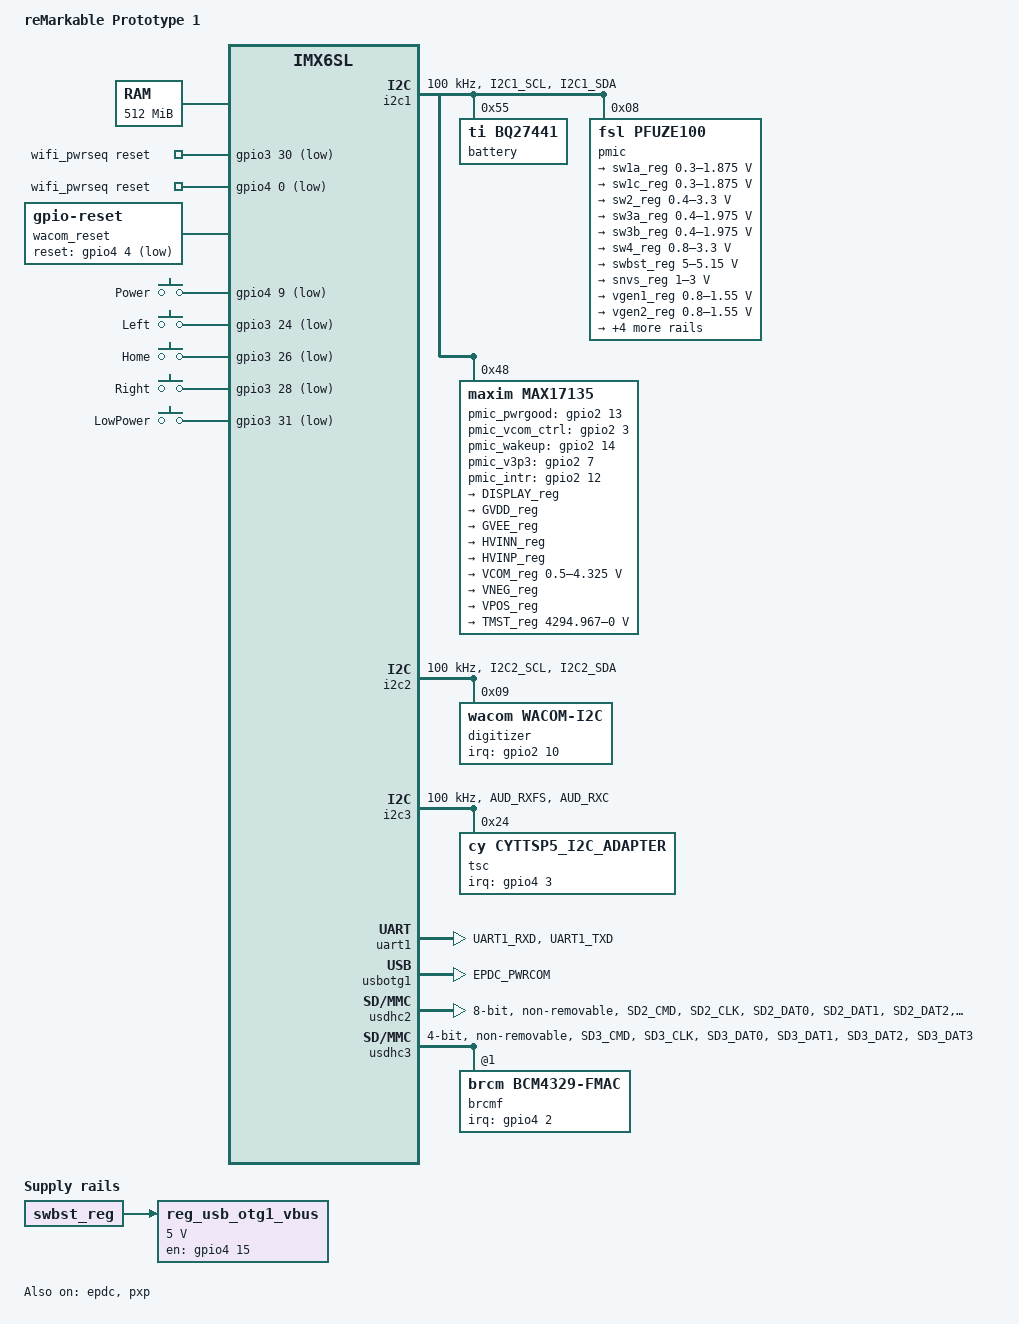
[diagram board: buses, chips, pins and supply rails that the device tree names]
/*
 * Copyright (C) 2013 Freescale Semiconductor, Inc.
 *
 * This program is free software; you can redistribute it and/or modify
 * it under the terms of the GNU General Public License version 2 as
 * published by the Free Software Foundation.
 */

/dts-v1/;

#include <dt-bindings/gpio/gpio.h>
#include <dt-bindings/input/input.h>
#include "imx6sl.dtsi"
#include "zero-gravitas-padctl.h"

/ {
	model = "reMarkable Prototype 1";
	compatible = "remarkable,zero-gravitas", "fsl,imx6sl";


	memory {
		reg = <0x80000000 0x20000000>;
	};

	wifi_pwrseq: wifi_pwrseq {
	     compatible = "mmc-pwrseq-simple";
	     reset-gpios = <&gpio3 30 GPIO_ACTIVE_LOW>,
		     <&gpio4 0 GPIO_ACTIVE_LOW>;
	     clocks = <&clks IMX6SL_CLK_OSC>;
	     clock-names = "ext_clock";
	};


	regulators {
		compatible = "simple-bus";
		#address-cells = <1>;
		#size-cells = <0>;

		reg_usb_otg1_vbus: regulator@0 {
			compatible = "regulator-fixed";
			reg = <0>;
			regulator-name = "usb_otg1_vbus";
			regulator-min-microvolt = <5000000>;
			regulator-max-microvolt = <5000000>;
			gpio = <&gpio4 15 0>;
			enable-active-high;
			vin-supply = <&swbst_reg>;
		};

		charger_regulator: regulator@1 {
			reg = <1>;
			compatible = "regulator-fixed";
			regulator-name = "charger-regulator";
			regulator-min-microamp = <5000000>;
			regulator-max-microamp = <5000000>;
			gpios = <&gpio3 27 GPIO_ACTIVE_LOW>;
			enable-active-high; /* Don't invert twice */
			regulator-boot-on;
			status = "disabled";
		};
	};

	wacom_reset: wacom-reset {
		compatible = "gpio-reset";
		reset-gpios = <&gpio4 4 1>;
		reset-delay-us = <100000>;
		#reset-cells = <0>;
	};

	gpio-keys {
		compatible = "gpio-keys";
		pinctrl-0 = <&pinctrl_keys>;
		pinctrl-names = "default";
		status = "okay";

		button_0 {
			label = "Power";
			gpios = <&gpio4 9 GPIO_ACTIVE_LOW>;
			linux,code = <KEY_POWER>;
			gpio-key,wakeup;
			debounce-interval = <10>;
		};

		button_1 {
			label = "Left";
			gpios = <&gpio3 24 GPIO_ACTIVE_LOW>;
			linux,code = <KEY_LEFT>;
			gpio-key,wakeup;
			debounce-interval = <5>;
		};

		button_2 {
			label = "Home";
			gpios = <&gpio3 26 GPIO_ACTIVE_LOW>;
			linux,code = <KEY_HOME>;
			gpio-key,wakeup;
			debounce-interval = <5>;
		};
		button_3 {
			label = "Right";
			gpios = <&gpio3 28 GPIO_ACTIVE_LOW>;
			linux,code = <KEY_RIGHT>;
			gpio-key,wakeup;
			debounce-interval = <5>;
		};
		button_4 {
			label = "LowPower";
			gpios = <&gpio3 31 GPIO_ACTIVE_LOW>;
			linux,code = <KEY_WAKEUP>;
			gpio-key,wakeup;
			debounce-interval = <100>;
		};
	};

	usb_charger: usb_charger {
		compatible = "gpio-charger";
		gpios = <&gpio4 1 0>;
		status = "disabled";
	};
};

&cpu0 {
	arm-supply = <&sw1a_reg>;
	soc-supply = <&sw1c_reg>;
};

&epdc {
        pinctrl-names = "default";
        pinctrl-0 = <&pinctrl_epdc_0>;
        VCOM-supply = <&VCOM_reg>;
        DISPLAY-supply = <&DISPLAY_reg>;
	TMST-supply = <&TMST_reg>;
        status = "okay";
};

&gpc {
	 fsl,ldo-bypass = <1>;
};

&i2c1 {
	clock-frequency = <100000>;
	pinctrl-names = "default";
	pinctrl-0 = <&pinctrl_i2c1>;
	status = "okay";

	battery: bq27441@55 {
		reg = <0x55>;
		compatible = "ti,bq27441";
		/*power-supplies = <&usb_charger>;*/
		/*charger-supply = <&charger_regulator>;*/
		/*interrupt-parent = <&gpio3>;
		interrupts = <31 IRQ_TYPE_LEVEL_HIGH>;*/
		ti,resistor-sense = <10>;
	};

	pmic: pfuze100@08 {
		compatible = "fsl,pfuze100";
		reg = <0x08>;

		regulators {
			sw1a_reg: sw1ab {
				regulator-min-microvolt = <300000>;
				regulator-max-microvolt = <1875000>;
				regulator-boot-on;
				regulator-always-on;
				regulator-ramp-delay = <6250>;
			};

			sw1c_reg: sw1c {
				regulator-min-microvolt = <300000>;
				regulator-max-microvolt = <1875000>;
				regulator-boot-on;
				regulator-always-on;
				regulator-ramp-delay = <6250>;
			};

			sw2_reg: sw2 {
				regulator-min-microvolt = <400000>;
				regulator-max-microvolt = <3300000>;
				regulator-boot-on;
				regulator-always-on;
			};

			sw3a_reg: sw3a {
				regulator-min-microvolt = <400000>;
				regulator-max-microvolt = <1975000>;
				regulator-boot-on;
				regulator-always-on;
			};

			sw3b_reg: sw3b {
				regulator-min-microvolt = <400000>;
				regulator-max-microvolt = <1975000>;
				regulator-boot-on;
				regulator-always-on;
			};

			sw4_reg: sw4 {
				regulator-min-microvolt = <800000>;
				regulator-max-microvolt = <3300000>;
			};

			swbst_reg: swbst {
				regulator-min-microvolt = <5000000>;
				regulator-max-microvolt = <5150000>;
			};

			snvs_reg: vsnvs {
				regulator-min-microvolt = <1000000>;
				regulator-max-microvolt = <3000000>;
				regulator-boot-on;
				regulator-always-on;
			};

			vref_reg: vrefddr {
				regulator-boot-on;
				regulator-always-on;
			};

			vgen1_reg: vgen1 {
				regulator-min-microvolt = <800000>;
				regulator-max-microvolt = <1550000>;
				regulator-always-on;
			};

			vgen2_reg: vgen2 {
				regulator-min-microvolt = <800000>;
				regulator-max-microvolt = <1550000>;
			};

			vgen3_reg: vgen3 {
				regulator-min-microvolt = <1800000>;
				regulator-max-microvolt = <3300000>;
			};

			vgen4_reg: vgen4 {
				regulator-min-microvolt = <1800000>;
				regulator-max-microvolt = <3300000>;
				regulator-always-on;
			};

			vgen5_reg: vgen5 {
				regulator-min-microvolt = <1800000>;
				regulator-max-microvolt = <3300000>;
				regulator-always-on;
			};

			vgen6_reg: vgen6 {
				regulator-min-microvolt = <1800000>;
				regulator-max-microvolt = <3300000>;
				regulator-always-on;
			};
		};
	};

	max17135@48 {
		compatible = "maxim,max17135";
		reg = <0x48>;
		pass_num = <2>;
		gvee_pwrup = <0>; /* ms */
		vneg_pwrup = <3>;
		vpos_pwrup = <6>;
		gvdd_pwrup = <3>;

		gvdd_pwrdn = <1>;
		vpos_pwrdn = <2>;
		vneg_pwrdn = <6>;
		gvee_pwrdn = <50>;
		/* These are only for passnum 1, we use i2c */
		gpio_pmic_pwrgood = <&gpio2 13 0>;
		gpio_pmic_vcom_ctrl = <&gpio2 3 0>;
		gpio_pmic_wakeup = <&gpio2 14 0>;
		gpio_pmic_v3p3 = <&gpio2 7 0>;
		gpio_pmic_intr = <&gpio2 12 0>;

		regulators {
			DISPLAY_reg: DISPLAY {
				regulator-name = "DISPLAY";
			};

			GVDD_reg: GVDD {
				/* 20v */
				regulator-name = "GVDD";
			};

			GVEE_reg: GVEE {
				/* -22v */
				regulator-name = "GVEE";
			};

			HVINN_reg: HVINN {
				/* -22v */
				regulator-name = "HVINN";
			};

			HVINP_reg: HVINP {
				/* 20v */
				regulator-name = "HVINP";
			};

                        VCOM_reg: VCOM {
                                regulator-name = "VCOM";
                                /* Real max value: -500000 */
                                regulator-max-microvolt = <4325000>;
                                /* Real min value: -4325000 */
                                regulator-min-microvolt = <500000>;
                        };

			VNEG_reg: VNEG {
				/* -15v */
				regulator-name = "VNEG";
			};

			VPOS_reg: VPOS {
				/* 15v */
				regulator-name = "VPOS";
			};

			TMST_reg: TMST {
				regulator-name = "TMST";
				/* 2's-compliment, -127 */
				regulator-min-microvolt = <0xffffff81>;
				/* 2's-compliment, +127 */
				regulator-max-microvolt = <0x0000007f>;
			};
		};
	};

};

&i2c2 {
	clock-frequency = <100000>;
	pinctrl-names = "default";
	pinctrl-0 = <&pinctrl_i2c2>;
	status = "okay";

	digitizer: wacom-i2c@09 {
		compatible = "wacom,wacom-i2c";
		reg = <0x09>;
		interrupt-parent = <&gpio2>;
		interrupts = <10 2>;
		resets = <&wacom_reset>;
	};
};

&i2c3 {
	clock-frequency = <100000>;
	pinctrl-names = "default";
	pinctrl-0 = <&pinctrl_i2c3>;
	status = "okay";

	tsc@24 {
		compatible = "cy,cyttsp5_i2c_adapter";
		reg = <0x24>;
		interrupt-parent = <&gpio4>;
		interrupts = <3 2>;
		cy,adapter_id = "cyttsp5_i2c_adapter";
		status = "okay";

		cy,core {
			cy,name = "cyttsp5_core";

			cy,irq_gpio = <&gpio4 3 0>;
			cy,rst_gpio = <&gpio4 5 0>;
			cy,hid_desc_register = <1>;
			/* CY_CORE_FLAG_RESTORE_PARAMETERS */
			cy,flags = <4>;
			/* CY_CORE_EWG_NONE */
			cy,easy_wakeup_gesture = <0>;
			cy,btn_keys = <172 /* KEY_HOMEPAGE */
				/* previously was KEY_HOME, new Android versions use KEY_HOMEPAGE */
				139 /* KEY_MENU */
				158 /* KEY_BACK */
				217 /* KEY_SEARCH */
				114 /* KEY_VOLUMEDOWN */
				115 /* KEY_VOLUMEUP */
				212 /* KEY_CAMERA */
				116>; /* KEY_POWER */
			cy,btn_keys-tag = <0>;

			cy,mt {
				cy,name = "cyttsp5_mt";

				cy,inp_dev_name = "cyttsp5_mt";
				cy,flags = <0>;
				cy,abs =
					/* ABS_MT_POSITION_X, CY_ABS_MIN_X, CY_ABS_MAX_X, 0, 0 */
					<0x35 0 880 0 0
					/* ABS_MT_POSITION_Y, CY_ABS_MIN_Y, CY_ABS_MAX_Y, 0, 0 */
					0x36 0 1280 0 0
					/* ABS_MT_PRESSURE, CY_ABS_MIN_P, CY_ABS_MAX_P, 0, 0 */
					0x3a 0 255 0 0
					/* CY_IGNORE_VALUE, CY_ABS_MIN_W, CY_ABS_MAX_W, 0, 0 */
					0xffff 0 255 0 0
					/* ABS_MT_TRACKING_ID, CY_ABS_MIN_T, CY_ABS_MAX_T, 0, 0 */
					0x39 0 15 0 0
					/* ABS_MT_TOUCH_MAJOR, 0, 255, 0, 0 */
					0x30 0 255 0 0
					/* ABS_MT_TOUCH_MINOR, 0, 255, 0, 0 */
					0x31 0 255 0 0
					/* ABS_MT_ORIENTATION, -127, 127, 0, 0 */
					0x34 0xffffff81 127 0 0
					/* ABS_MT_TOOL_TYPE, 0, MT_TOOL_MAX, 0, 0 */
					0x37 0 1 0 0
					/* ABS_DISTANCE, 0, 255, 0, 0 */
					0x19 0 255 0 0>;

				cy,vkeys_x = <720>;
				cy,vkeys_y = <1280>;

				cy,virtual_keys = /* KeyCode CenterX CenterY Width Height */
					/* KEY_BACK */
					<158 1360 90 160 180
					/* KEY_MENU */
					139 1360 270 160 180
					/* KEY_HOMEPAGE */
					172 1360 450 160 180
					/* KEY SEARCH */
					217 1360 630 160 180>;
			};
		};
	};
};

&iomuxc {
	pinctrl-names = "default";
	pinctrl-0 = <&pinctrl_hog>;

	zero-gravitas {
		pinctrl_hog: hoggrp {
			fsl,pins = <
				/* MAX17135 pwrgood */
				MX6SL_PAD_EPDC_PWRSTAT__GPIO2_IO13	PAD_CTL_NONE
				/* MAX17135 vcom ctrl */
				MX6SL_PAD_EPDC_VCOM0__GPIO2_IO03	PAD_CTL_NONE
				/* MAX17135 wakeup */
				MX6SL_PAD_EPDC_PWRWAKEUP__GPIO2_IO14	PAD_CTL_NONE
				/* MAX17135 v3p3 */
				MX6SL_PAD_EPDC_PWRCTRL0__GPIO2_IO07	PAD_CTL_NONE
				/* MAX17135 intr */
				MX6SL_PAD_EPDC_PWRINT__GPIO2_IO12	PAD_CTL_NONE

				/* BQ27441 low power */
				MX6SL_PAD_KEY_ROW3__GPIO3_IO31		0x17000

				/* Wacom interrupt */
				MX6SL_PAD_EPDC_PWRCTRL3__GPIO2_IO10	0x17000
				/* Wacom reset */
				MX6SL_PAD_KEY_COL6__GPIO4_IO04		0x110b0

				/* CYTTSP interrupt */
				MX6SL_PAD_KEY_ROW5__GPIO4_IO03		0x17000
				/* CYTTSP reset */
				MX6SL_PAD_KEY_ROW6__GPIO4_IO05		0x110b0

				/* USB OTG1 voltage control */
				/*MX6SL_PAD_ECSPI2_SS0__GPIO4_IO15	0x17000*/
				/*MX6SL_PAD_ECSPI2_SS0__GPIO4_IO15	0x000b0*/
				MX6SL_PAD_ECSPI2_SS0__GPIO4_IO15	PAD_CTL_NONE
				/*MX6SL_PAD_ECSPI2_SS0__USB_OTG1_PWR	0x17000*/
				/* USB OTG1 over current detection */
				MX6SL_PAD_ECSPI2_MISO__USB_OTG1_OC	0x1b0b0

				/* Charger control */
				MX6SL_PAD_KEY_ROW1__GPIO3_IO27		0x110b0
				/* Charger status */
				MX6SL_PAD_KEY_ROW4__GPIO4_IO01		PAD_CTL_NONE

				/* USDHC1 card detect */
				MX6SL_PAD_KEY_ROW7__GPIO4_IO07		0x17059

				/* CHIP_WAKE_HOST */
				MX6SL_PAD_KEY_COL5__GPIO4_IO02		PAD_CTL_NONE
				/* POWER_WIFI: WiFi external power control */
				MX6SL_PAD_KEY_COL3__GPIO3_IO30		PAD_CTL_NONE
				/* WL_DIS: WiFi internal power control */
				MX6SL_PAD_KEY_COL4__GPIO4_IO00		PAD_CTL_NONE

				/* 32Khz clock from i.MX6 to WiFi for power saving */
				MX6SL_PAD_REF_CLK_32K__XTALOSC_REF_CLK_32K 0x1b0b0
			>;
		};

                pinctrl_epdc_0: epdcgrp-0 {
                        fsl,pins = <
                                MX6SL_PAD_EPDC_D0__EPDC_DATA00  PAD_CTL_NONE
                                MX6SL_PAD_EPDC_D1__EPDC_DATA01  PAD_CTL_NONE
                                MX6SL_PAD_EPDC_D2__EPDC_DATA02  PAD_CTL_NONE
                                MX6SL_PAD_EPDC_D3__EPDC_DATA03  PAD_CTL_NONE
                                MX6SL_PAD_EPDC_D4__EPDC_DATA04  PAD_CTL_NONE
                                MX6SL_PAD_EPDC_D5__EPDC_DATA05  PAD_CTL_NONE
                                MX6SL_PAD_EPDC_D6__EPDC_DATA06  PAD_CTL_NONE
                                MX6SL_PAD_EPDC_D7__EPDC_DATA07  PAD_CTL_NONE
                                MX6SL_PAD_EPDC_D8__EPDC_DATA08  PAD_CTL_NONE
                                MX6SL_PAD_EPDC_D9__EPDC_DATA09  PAD_CTL_NONE
                                MX6SL_PAD_EPDC_D10__EPDC_DATA10 PAD_CTL_NONE
                                MX6SL_PAD_EPDC_D11__EPDC_DATA11 PAD_CTL_NONE
                                MX6SL_PAD_EPDC_D12__EPDC_DATA12 PAD_CTL_NONE
                                MX6SL_PAD_EPDC_D13__EPDC_DATA13 PAD_CTL_NONE
                                MX6SL_PAD_EPDC_D14__EPDC_DATA14 PAD_CTL_NONE
                                MX6SL_PAD_EPDC_D15__EPDC_DATA15 PAD_CTL_NONE
                                MX6SL_PAD_EPDC_GDCLK__EPDC_GDCLK PAD_CTL_NONE
                                MX6SL_PAD_EPDC_GDOE__EPDC_GDOE   PAD_CTL_NONE
                                MX6SL_PAD_EPDC_GDSP__EPDC_GDSP   PAD_CTL_NONE
                                MX6SL_PAD_EPDC_SDCE0__EPDC_SDCE0 PAD_CTL_NONE
                                MX6SL_PAD_EPDC_SDCLK__EPDC_SDCLK_P PAD_CTL_NONE
                                MX6SL_PAD_EPDC_SDLE__EPDC_SDLE   PAD_CTL_NONE
                                MX6SL_PAD_EPDC_SDOE__EPDC_SDOE   PAD_CTL_NONE
                                MX6SL_PAD_EPDC_BDR0__EPDC_BDR0   PAD_CTL_NONE
                                MX6SL_PAD_EPDC_BDR1__EPDC_BDR1   PAD_CTL_NONE
                        >;
                };

		pinctrl_i2c1: i2c1grp {
			fsl,pins = <
				MX6SL_PAD_I2C1_SCL__I2C1_SCL	0x4001b8b1
				MX6SL_PAD_I2C1_SDA__I2C1_SDA	0x4001b8b1
			>;
		};


		pinctrl_i2c2: i2c2grp {
			fsl,pins = <
				MX6SL_PAD_I2C2_SCL__I2C2_SCL	0x4001b8b1
				MX6SL_PAD_I2C2_SDA__I2C2_SDA	0x4001b8b1
			>;
		};

		pinctrl_i2c3: i2c3grp {
			fsl,pins = <
				MX6SL_PAD_AUD_RXFS__I2C3_SCL 0x4001b8b1
				MX6SL_PAD_AUD_RXC__I2C3_SDA 0x4001b8b1
			>;
		};

		pinctrl_keys: keygrp {
			fsl,pins = <
				MX6SL_PAD_ECSPI1_MOSI__GPIO4_IO09	0x100b1
				MX6SL_PAD_KEY_COL0__GPIO3_IO24		0x100b1
				MX6SL_PAD_KEY_COL1__GPIO3_IO26		0x100b1
				MX6SL_PAD_KEY_COL2__GPIO3_IO28		0x100b1
			>;
		};

		pinctrl_uart1: uart1grp {
			fsl,pins = <
				MX6SL_PAD_UART1_RXD__UART1_RX_DATA	0x1b0b1
				MX6SL_PAD_UART1_TXD__UART1_TX_DATA	0x1b0b1
			>;
		};

		pinctrl_usbotg1: usbotg1grp {
			fsl,pins = <
				MX6SL_PAD_EPDC_PWRCOM__USB_OTG1_ID	0x17059
			>;
		};

		pinctrl_usdhc1: usdhc1grp {
			fsl,pins = <
				MX6SL_PAD_SD1_CMD__SD1_CMD		PAD_CTL_USDHC_DEFAULT
				MX6SL_PAD_SD1_CLK__SD1_CLK		PAD_CTL_USDHC_CLK_DEFAULT
				MX6SL_PAD_SD1_DAT0__SD1_DATA0		PAD_CTL_USDHC_DEFAULT
				MX6SL_PAD_SD1_DAT1__SD1_DATA1		PAD_CTL_USDHC_DEFAULT
				MX6SL_PAD_SD1_DAT2__SD1_DATA2		PAD_CTL_USDHC_DEFAULT
				MX6SL_PAD_SD1_DAT3__SD1_DATA3		PAD_CTL_USDHC_DEFAULT
			>;
		};

		pinctrl_usdhc1_100mhz: usdhc1grp100mhz {
			fsl,pins = <
				MX6SL_PAD_SD1_CMD__SD1_CMD		PAD_CTL_USDHC_100MHZ
				MX6SL_PAD_SD1_CLK__SD1_CLK		PAD_CTL_USDHC_CLK_100MHZ
				MX6SL_PAD_SD1_DAT0__SD1_DATA0		PAD_CTL_USDHC_100MHZ
				MX6SL_PAD_SD1_DAT1__SD1_DATA1		PAD_CTL_USDHC_100MHZ
				MX6SL_PAD_SD1_DAT2__SD1_DATA2		PAD_CTL_USDHC_100MHZ
				MX6SL_PAD_SD1_DAT3__SD1_DATA3		PAD_CTL_USDHC_100MHZ
			>;
		};

		pinctrl_usdhc1_200mhz: usdhc1grp200mhz {
			fsl,pins = <
				MX6SL_PAD_SD1_CMD__SD1_CMD		PAD_CTL_USDHC_200MHZ
				MX6SL_PAD_SD1_CLK__SD1_CLK		PAD_CTL_USDHC_CLK_200MHZ
				MX6SL_PAD_SD1_DAT0__SD1_DATA0		PAD_CTL_USDHC_200MHZ
				MX6SL_PAD_SD1_DAT1__SD1_DATA1		PAD_CTL_USDHC_200MHZ
				MX6SL_PAD_SD1_DAT2__SD1_DATA2		PAD_CTL_USDHC_200MHZ
				MX6SL_PAD_SD1_DAT3__SD1_DATA3		PAD_CTL_USDHC_200MHZ
			>;
		};

		pinctrl_usdhc2: usdhc2grp {
			fsl,pins = <
				MX6SL_PAD_SD2_CMD__SD2_CMD		PAD_CTL_USDHC_DEFAULT
				MX6SL_PAD_SD2_CLK__SD2_CLK		PAD_CTL_USDHC_CLK_DEFAULT
				MX6SL_PAD_SD2_DAT0__SD2_DATA0		PAD_CTL_USDHC_DEFAULT
				MX6SL_PAD_SD2_DAT1__SD2_DATA1		PAD_CTL_USDHC_DEFAULT
				MX6SL_PAD_SD2_DAT2__SD2_DATA2		PAD_CTL_USDHC_DEFAULT
				MX6SL_PAD_SD2_DAT3__SD2_DATA3		PAD_CTL_USDHC_DEFAULT
				MX6SL_PAD_SD2_DAT4__SD2_DATA4		PAD_CTL_USDHC_DEFAULT
				MX6SL_PAD_SD2_DAT5__SD2_DATA5		PAD_CTL_USDHC_DEFAULT
				MX6SL_PAD_SD2_DAT6__SD2_DATA6		PAD_CTL_USDHC_DEFAULT
				MX6SL_PAD_SD2_DAT7__SD2_DATA7		PAD_CTL_USDHC_DEFAULT
				MX6SL_PAD_SD2_RST__SD2_RESET		PAD_CTL_USDHC_CLK_DEFAULT
			>;
		};

		pinctrl_usdhc2_100mhz: usdhc2grp100mhz {
			fsl,pins = <
				MX6SL_PAD_SD2_CMD__SD2_CMD		PAD_CTL_USDHC_100MHZ
				MX6SL_PAD_SD2_CLK__SD2_CLK		PAD_CTL_USDHC_CLK_100MHZ
				MX6SL_PAD_SD2_DAT0__SD2_DATA0		PAD_CTL_USDHC_100MHZ
				MX6SL_PAD_SD2_DAT1__SD2_DATA1		PAD_CTL_USDHC_100MHZ
				MX6SL_PAD_SD2_DAT2__SD2_DATA2		PAD_CTL_USDHC_100MHZ
				MX6SL_PAD_SD2_DAT3__SD2_DATA3		PAD_CTL_USDHC_100MHZ
				MX6SL_PAD_SD2_DAT4__SD2_DATA4		PAD_CTL_USDHC_100MHZ
				MX6SL_PAD_SD2_DAT5__SD2_DATA5		PAD_CTL_USDHC_100MHZ
				MX6SL_PAD_SD2_DAT6__SD2_DATA6		PAD_CTL_USDHC_100MHZ
				MX6SL_PAD_SD2_DAT7__SD2_DATA7		PAD_CTL_USDHC_100MHZ
				MX6SL_PAD_SD2_RST__SD2_RESET		PAD_CTL_USDHC_CLK_DEFAULT
			>;
		};

		pinctrl_usdhc2_200mhz: usdhc2grp200mhz {
			fsl,pins = <
				MX6SL_PAD_SD2_CMD__SD2_CMD		PAD_CTL_USDHC_200MHZ
				MX6SL_PAD_SD2_CLK__SD2_CLK		PAD_CTL_USDHC_CLK_200MHZ
				MX6SL_PAD_SD2_DAT0__SD2_DATA0		PAD_CTL_USDHC_200MHZ
				MX6SL_PAD_SD2_DAT1__SD2_DATA1		PAD_CTL_USDHC_200MHZ
				MX6SL_PAD_SD2_DAT2__SD2_DATA2		PAD_CTL_USDHC_200MHZ
				MX6SL_PAD_SD2_DAT3__SD2_DATA3		PAD_CTL_USDHC_200MHZ
				MX6SL_PAD_SD2_DAT4__SD2_DATA4		PAD_CTL_USDHC_200MHZ
				MX6SL_PAD_SD2_DAT5__SD2_DATA5		PAD_CTL_USDHC_200MHZ
				MX6SL_PAD_SD2_DAT6__SD2_DATA6		PAD_CTL_USDHC_200MHZ
				MX6SL_PAD_SD2_DAT7__SD2_DATA7		PAD_CTL_USDHC_200MHZ
				MX6SL_PAD_SD2_RST__SD2_RESET		PAD_CTL_USDHC_CLK_DEFAULT
			>;
		};

		pinctrl_usdhc3: usdhc3grp {
			fsl,pins = <
				MX6SL_PAD_SD3_CMD__SD3_CMD		PAD_CTL_USDHC_DEFAULT
				MX6SL_PAD_SD3_CLK__SD3_CLK		PAD_CTL_USDHC_CLK_DEFAULT
				MX6SL_PAD_SD3_DAT0__SD3_DATA0		PAD_CTL_USDHC_DEFAULT
				MX6SL_PAD_SD3_DAT1__SD3_DATA1		PAD_CTL_USDHC_DEFAULT
				MX6SL_PAD_SD3_DAT2__SD3_DATA2		PAD_CTL_USDHC_DEFAULT
				MX6SL_PAD_SD3_DAT3__SD3_DATA3		PAD_CTL_USDHC_DEFAULT
			>;
		};

		pinctrl_usdhc3_100mhz: usdhc3grp100mhz {
			fsl,pins = <
				MX6SL_PAD_SD3_CMD__SD3_CMD		PAD_CTL_USDHC_100MHZ
				MX6SL_PAD_SD3_CLK__SD3_CLK		PAD_CTL_USDHC_CLK_100MHZ
				MX6SL_PAD_SD3_DAT0__SD3_DATA0		PAD_CTL_USDHC_100MHZ
				MX6SL_PAD_SD3_DAT1__SD3_DATA1		PAD_CTL_USDHC_100MHZ
				MX6SL_PAD_SD3_DAT2__SD3_DATA2		PAD_CTL_USDHC_100MHZ
				MX6SL_PAD_SD3_DAT3__SD3_DATA3		PAD_CTL_USDHC_100MHZ
			>;
		};

		pinctrl_usdhc3_200mhz: usdhc3grp200mhz {
			fsl,pins = <
				MX6SL_PAD_SD3_CMD__SD3_CMD		PAD_CTL_USDHC_200MHZ
				MX6SL_PAD_SD3_CLK__SD3_CLK		PAD_CTL_USDHC_CLK_200MHZ
				MX6SL_PAD_SD3_DAT0__SD3_DATA0		PAD_CTL_USDHC_200MHZ
				MX6SL_PAD_SD3_DAT1__SD3_DATA1		PAD_CTL_USDHC_200MHZ
				MX6SL_PAD_SD3_DAT2__SD3_DATA2		PAD_CTL_USDHC_200MHZ
				MX6SL_PAD_SD3_DAT3__SD3_DATA3		PAD_CTL_USDHC_200MHZ
			>;
		};
	};
};

&pxp {
	status = "okay";
};

&snvs_poweroff {
	status = "okay";
};

&uart1 {
	pinctrl-names = "default";
	pinctrl-0 = <&pinctrl_uart1>;
	status = "okay";
};

/*&usbmisc {
	vbus-wakeup-supply = <&reg_usb_otg1_vbus>;
};*/

&usbotg1 {
	/*vbus-supply = <&reg_usb_otg1_vbus>;*/
	pinctrl-names = "default";
	pinctrl-0 = <&pinctrl_usbotg1>;
	disable-over-current;
	/* This kills the speed */
	imx-usb-charger-detection;
	srp-disable;
	hnp-disable;
	adp-disable;
	status = "okay";
};

&usbotg2 {
	dr_mode = "host";
	disable-over-current;
	srp-disable;
	hnp-disable;
	adp-disable;
	status = "disabled";
};


&usbphy1 {
	tx-d-cal = <0x5>;
};

&usbphy2 {
	tx-d-cal = <0x5>;
	status = "disabled";
};

&usdhc1 {
	pinctrl-names = "default", "state_100mhz", "state_200mhz";
	pinctrl-0 = <&pinctrl_usdhc1>;
	pinctrl-1 = <&pinctrl_usdhc1_100mhz>;
	pinctrl-2 = <&pinctrl_usdhc1_200mhz>;
	bus-width = <4>;
	cd-gpios = <&gpio4 7 GPIO_ACTIVE_LOW>;
	disable-wp;
	wp-controller;
	keep-power-in-suspend;
	enable-sdio-wakeup;
	no-1-8-v;
	/*disable-wp;*/
	status = "disabled";
};

&usdhc2 {
	pinctrl-names = "default", "state_100mhz", "state_200mhz";
	pinctrl-0 = <&pinctrl_usdhc2>;
	pinctrl-1 = <&pinctrl_usdhc2_100mhz>;
	pinctrl-2 = <&pinctrl_usdhc2_200mhz>;
	bus-width = <8>;
	non-removable;
	keep-power-in-suspend;
	no-1-8-v;
	disable-wp;
	cap-mmc-highspeed;
	status = "okay";
};

&usdhc3 {
	#address-cells = <1>;
	#size-cells = <0>;
	pinctrl-names = "default", "state_100mhz", "state_200mhz";
	pinctrl-0 = <&pinctrl_usdhc3>;
	pinctrl-1 = <&pinctrl_usdhc3_100mhz>;
	pinctrl-2 = <&pinctrl_usdhc3_200mhz>;
	mmc-pwrseq = <&wifi_pwrseq>;
	bus-width = <4>;
	enable-sdio-wakeup;
	non-removable;
	disable-wp;
	no-1-8-v;
	wifi-host;
	keep-power-in-suspend;
	status = "okay";

	brcmf: bcrmf@1 {
		reg = <1>;
		compatible = "brcm,bcm4329-fmac";
		interrupt-parent = <&gpio4>;
		interrupts = <2 IRQ_TYPE_LEVEL_HIGH>;
		interrupt-names = "host-wake";
		/*resets = <&wifi_reset>;*/
	};
};


&busfreq {
	status = "disabled";
};
